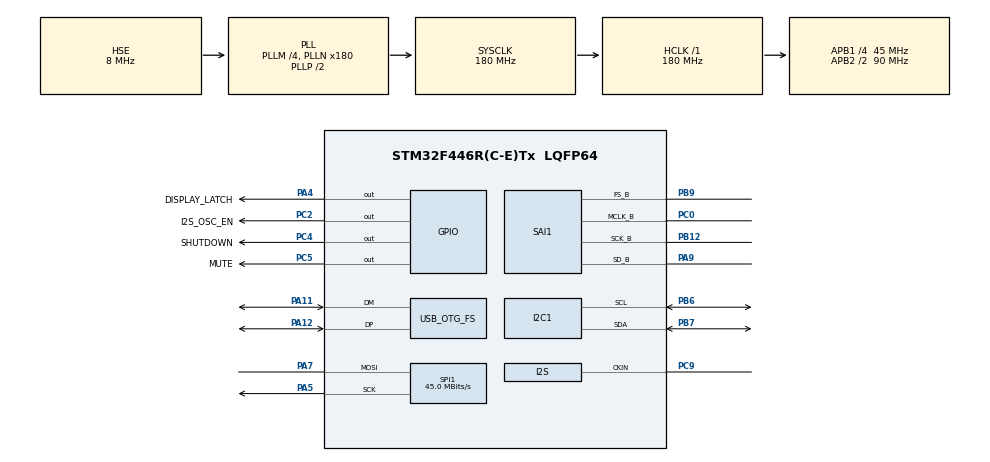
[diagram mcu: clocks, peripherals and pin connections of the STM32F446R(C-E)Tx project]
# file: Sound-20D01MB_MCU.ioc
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Mcu.Family=STM32F4
USB_DEVICE.CLASS_NAME_FS=AUDIO
PH0-OSC_IN.Signal=RCC_OSC_IN
RCC.CortexFreq_Value=180000000
NVIC.I2C1_EV_IRQn=true\:0\:0\:false\:false\:true\:true\:true
SPI1.VirtualType=VM_MASTER
Dma.SAI1_B.0.MemInc=DMA_MINC_ENABLE
Dma.SAI1_B.0.FIFOThreshold=DMA_FIFO_THRESHOLD_FULL
VP_RTC_VS_RTC_Activate.Mode=RTC_Enabled
PA11.Mode=Device_Only
SAI1.VirtualMode-SAI_B_MasterWithClock=VM_MASTER
RCC.SYSCLKSource=RCC_SYSCLKSOURCE_PLLCLK
SAI1.RealAudioFreq-SAI_B_MasterWithClock=48.0 KHz
ProjectManager.StackSize=0x400
USB_DEVICE.PID_AUDIO_FS=12345
PA12.Signal=USB_OTG_FS_DP
SPI1.Direction=SPI_DIRECTION_1LINE
RCC.HCLKFreq_Value=180000000
RCC.APB2TimFreq_Value=180000000
PB6.Signal=I2C1_SCL
PB6.Mode=I2C
SPI1.CalculateBaudRate=45.0 MBits/s
RCC.AHBFreq_Value=180000000
PH0-OSC_IN.Mode=HSE-External-Oscillator
SAI1.ErrorAudioFreq-SAI_B_MasterWithClock=0.0 %
RCC.HSE_VALUE=8000000
Dma.SAI1_B.0.PeriphInc=DMA_PINC_DISABLE
PC14-OSC32_IN.Mode=LSE-External-Oscillator
PC4.GPIO_Label=SHUTDOWN
PC9.Mode=Audio_ClockIn
PB7.Signal=I2C1_SDA
SPI1.FirstBit=SPI_FIRSTBIT_LSB
Dma.SAI1_B.0.MemBurst=DMA_MBURST_INC8
NVIC.I2C1_ER_IRQn=true\:0\:0\:false\:false\:true\:true\:true
PH1-OSC_OUT.Mode=HSE-External-Oscillator
USB_DEVICE.PRODUCT_STRING_AUDIO_FS=Sound-20D01
PB9.Signal=SAI1_FS_B
Mcu.Package=LQFP64
PB12.Mode=SAI_B_MasterWithClock
NVIC.OTG_FS_IRQn=true\:0\:0\:false\:false\:true\:false\:true
USB_OTG_FS.VirtualMode=Device_Only
SAI1.Instance-SAI_B_MasterWithClock=SAI$Index_Block_B
RCC.PLLSAIN=96
RCC.PLLSAIM=4
RCC.PLLSAIP=RCC_PLLSAIP_DIV4
Dma.SAI1_B.0.Mode=DMA_NORMAL
RCC.APB2CLKDivider=RCC_HCLK_DIV2
Dma.SAI1_B.0.FIFOMode=DMA_FIFOMODE_ENABLE
RCC.APB1TimFreq_Value=90000000
Dma.SAI1_B.0.Instance=DMA2_Stream5
PC5.Signal=GPIO_Output
SAI1.MClockEnable-SAI_B_MasterWithClock=SAI_MASTERCLOCK_ENABLE
Dma.Request0=SAI1_B
PA4.GPIO_Label=DISPLAY_LATCH
PC2.GPIO_Label=I2S_OSC_EN
USB_DEVICE.USBD_AUDIO_FREQ-AUDIO_FS=48000
PA5.Mode=Simplex_Bidirectional_Master
RCC.PLLSourceVirtual=RCC_PLLSOURCE_HSE
PC15-OSC32_OUT.Mode=LSE-External-Oscillator
Dma.SAI1_B.0.MemDataAlignment=DMA_MDATAALIGN_HALFWORD
Dma.SAI1_B.0.PeriphDataAlignment=DMA_PDATAALIGN_HALFWORD
PA7.Mode=Simplex_Bidirectional_Master
USB_DEVICE.VirtualMode-AUDIO_FS=Audio
USB_DEVICE.VirtualModeFS=Audio_FS
RCC.SAIACLockSelection=RCC_SAI1CLKSOURCE_EXT
Dma.SAI1_B.0.PeriphBurst=DMA_PBURST_SINGLE
PC4.Signal=GPIO_Output
PC2.Signal=GPIO_Output
PC0.Signal=SAI1_MCLK_B
RCC.APB1CLKDivider=RCC_HCLK_DIV4
PC14-OSC32_IN.Signal=RCC_OSC32_IN
PC0.Mode=SAI_B_MasterWithClock
PA13.Signal=SYS_JTMS-SWDIO
Dma.SAI1_B.0.Priority=DMA_PRIORITY_LOW
PA9.Mode=SAI_B_MasterWithClock
ProjectManager.TargetToolchain=STM32CubeIDE
Dma.SAI1_B.0.Direction=DMA_MEMORY_TO_PERIPH
PB9.Mode=SAI_B_MasterWithClock
PA9.Signal=SAI1_SD_B
RCC.USBFreq_Value=48000000
PC15-OSC32_OUT.Signal=RCC_OSC32_OUT
VP_SAI1_VP_$IpInstance_SAIB_SAI_BASIC.Mode=SAI_B_BASIC
RCC.USBCLockSelection=RCC_CLK48CLKSOURCE_PLLSAIP
PA5.Signal=SPI1_SCK
board=custom
RCC.VCOOutputFreq_Value=360000000
RCC.APB2Freq_Value=90000000
SPI1.Mode=SPI_MODE_MASTER
NVIC.DMA2_Stream5_IRQn=true\:0\:0\:false\:false\:true\:false\:true
PH1-OSC_OUT.Signal=RCC_OSC_OUT
RCC.RCC_RTC_Clock_SourceVirtual=RCC_RTCCLKSOURCE_LSE
VP_USB_DEVICE_VS_USB_DEVICE_AUDIO_FS.Mode=AUDIO_FS
Mcu.Name=STM32F446R(C-E)Tx
PB3.Signal=SYS_JTDO-SWO
PA4.Signal=GPIO_Output
RCC.SYSCLKFreq_VALUE=180000000
PA12.Mode=Device_Only
SAI1.AudioFrequency-SAI_B_MasterWithClock=SAI_AUDIO_FREQUENCY_48K
PC5.GPIO_Label=MUTE
PB7.Mode=I2C
PA11.Signal=USB_OTG_FS_DM
PA14.Signal=SYS_JTCK-SWCLK
ProjectManager.HeapSize=0x200
SAI1.VirtualProtocol-SAI_B_BASIC=VM_BASIC_PROTOCOL
NVIC.PriorityGroup=NVIC_PRIORITYGROUP_4
RCC.PLLM=4
RCC.PLLN=180
PC9.Signal=I2S_CKIN
SAI1.InitProtocol-SAI_B_MasterWithClock=Enable
RCC.APB1Freq_Value=45000000
PB12.Signal=SAI1_SCK_B
PA7.Signal=SPI1_MOSI

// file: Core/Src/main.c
/* USER CODE BEGIN Header */
/**
  ******************************************************************************
  * @file           : main.c
  * @brief          : Main program body
  ******************************************************************************
  * @attention
  *
  * <h2><center>&copy; Copyright (c) 2021 STMicroelectronics.
  * All rights reserved.</center></h2>
  *
  * This software component is licensed by ST under BSD 3-Clause license,
  * the "License"; You may not use this file except in compliance with the
  * License. You may obtain a copy of the License at:
  *                        opensource.org/licenses/BSD-3-Clause
  *
  ******************************************************************************
  */
/* USER CODE END Header */
#include "main.h"
#include "usb_device.h"

/* USER CODE BEGIN Includes */
#include "audio.h"
/* USER CODE END Includes */

I2C_HandleTypeDef hi2c1;

RTC_HandleTypeDef hrtc;

SAI_HandleTypeDef hsai_BlockB1;
DMA_HandleTypeDef hdma_sai1_b;

SPI_HandleTypeDef hspi1;

/* USER CODE BEGIN PV */
const uint8_t digits[10] = {
	0xFC, 0x60, 0xDA, 0xF2, 0x66, 0xB6, 0xBE, 0xE0, 0xFE, 0xF6
};
/* USER CODE END PV */

void SystemClock_Config(void);
static void MX_GPIO_Init(void);
static void MX_DMA_Init(void);
static void MX_SAI1_Init(void);
static void MX_I2C1_Init(void);
static void MX_RTC_Init(void);
static void MX_SPI1_Init(void);

/* USER CODE BEGIN 0 */
#ifdef DEBUG
int _write(int32_t file, uint8_t *ptr, int32_t len) {
	UNUSED(file);

	/* Implement your write code here, this is used by puts and printf for example */
	int i = 0;
	for (i = 0; i < len; i++)
		ITM_SendChar((*ptr++));
	return len;
}
#endif
/* USER CODE END 0 */

int main(void)
{

  /* MCU Configuration--------------------------------------------------------*/

  /* Reset of all peripherals, Initializes the Flash interface and the Systick. */
  HAL_Init();

  /* Configure the system clock */
  SystemClock_Config();

  /* Initialize all configured peripherals */
  MX_GPIO_Init();
  MX_DMA_Init();
  MX_SAI1_Init();
  MX_USB_DEVICE_Init();
  MX_I2C1_Init();
  MX_RTC_Init();
  MX_SPI1_Init();
  /* USER CODE BEGIN 2 */
  RTC_TimeTypeDef sTime = {0};
  RTC_DateTypeDef sDate = {0};
  uint8_t SPI_Data[4];
  uint8_t dp = 0;

  /* Set time */
  sTime.Hours = 17;
  sTime.Minutes = 17;
  HAL_RTC_SetTime(&hrtc, &sTime, RTC_FORMAT_BIN);
  /* USER CODE END 2 */

  /* Infinite loop */
  /* USER CODE BEGIN WHILE */
  while (1)
  {
    HAL_RTC_GetTime(&hrtc, &sTime, RTC_FORMAT_BCD);
    HAL_RTC_GetDate(&hrtc, &sDate, RTC_FORMAT_BCD);

    SPI_Data[3] = digits[(sTime.Hours >> 4)];
    SPI_Data[2] = digits[(sTime.Hours & ~0b11110000)];
    SPI_Data[1] = digits[(sTime.Minutes >> 4)];
    SPI_Data[0] = digits[(sTime.Minutes & ~0b11110000)];

    if (0 == dp) {
      dp = 1;
      SPI_Data[2] |= (1 << 0);
    } else {
      dp = 0;
    }

    HAL_SPI_Transmit(&hspi1, SPI_Data, 4, HAL_MAX_DELAY);
    HAL_GPIO_WritePin(DISPLAY_LATCH_GPIO_Port, DISPLAY_LATCH_Pin, GPIO_PIN_SET);
    HAL_Delay(100);
    HAL_GPIO_WritePin(DISPLAY_LATCH_GPIO_Port, DISPLAY_LATCH_Pin, GPIO_PIN_RESET);

    HAL_Delay(400);
    /* USER CODE END WHILE */

  }
}

void SystemClock_Config(void)
{
  RCC_OscInitTypeDef RCC_OscInitStruct = {0};
  RCC_ClkInitTypeDef RCC_ClkInitStruct = {0};
  RCC_PeriphCLKInitTypeDef PeriphClkInitStruct = {0};

  /** Configure the main internal regulator output voltage
  */
  __HAL_RCC_PWR_CLK_ENABLE();
  __HAL_PWR_VOLTAGESCALING_CONFIG(PWR_REGULATOR_VOLTAGE_SCALE1);
  /** Initializes the RCC Oscillators according to the specified parameters
  * in the RCC_OscInitTypeDef structure.
  */
  RCC_OscInitStruct.OscillatorType = RCC_OSCILLATORTYPE_HSE|RCC_OSCILLATORTYPE_LSE;
  RCC_OscInitStruct.HSEState = RCC_HSE_ON;
  RCC_OscInitStruct.LSEState = RCC_LSE_ON;
  RCC_OscInitStruct.PLL.PLLState = RCC_PLL_ON;
  RCC_OscInitStruct.PLL.PLLSource = RCC_PLLSOURCE_HSE;
  RCC_OscInitStruct.PLL.PLLM = 4;
  RCC_OscInitStruct.PLL.PLLN = 180;
  RCC_OscInitStruct.PLL.PLLP = RCC_PLLP_DIV2;
  RCC_OscInitStruct.PLL.PLLQ = 2;
  RCC_OscInitStruct.PLL.PLLR = 2;
  if (HAL_RCC_OscConfig(&RCC_OscInitStruct) != HAL_OK)
  {
    Error_Handler();
  }
  /** Activate the Over-Drive mode
  */
  if (HAL_PWREx_EnableOverDrive() != HAL_OK)
  {
    Error_Handler();
  }
  /** Initializes the CPU, AHB and APB buses clocks
  */
  RCC_ClkInitStruct.ClockType = RCC_CLOCKTYPE_HCLK|RCC_CLOCKTYPE_SYSCLK
                              |RCC_CLOCKTYPE_PCLK1|RCC_CLOCKTYPE_PCLK2;
  RCC_ClkInitStruct.SYSCLKSource = RCC_SYSCLKSOURCE_PLLCLK;
  RCC_ClkInitStruct.AHBCLKDivider = RCC_SYSCLK_DIV1;
  RCC_ClkInitStruct.APB1CLKDivider = RCC_HCLK_DIV4;
  RCC_ClkInitStruct.APB2CLKDivider = RCC_HCLK_DIV2;

  if (HAL_RCC_ClockConfig(&RCC_ClkInitStruct, FLASH_LATENCY_5) != HAL_OK)
  {
    Error_Handler();
  }
  PeriphClkInitStruct.PeriphClockSelection = RCC_PERIPHCLK_SAI1|RCC_PERIPHCLK_RTC
                              |RCC_PERIPHCLK_CLK48;
  PeriphClkInitStruct.PLLSAI.PLLSAIM = 4;
  PeriphClkInitStruct.PLLSAI.PLLSAIN = 96;
  PeriphClkInitStruct.PLLSAI.PLLSAIQ = 2;
  PeriphClkInitStruct.PLLSAI.PLLSAIP = RCC_PLLSAIP_DIV4;
  PeriphClkInitStruct.PLLSAIDivQ = 1;
  PeriphClkInitStruct.RTCClockSelection = RCC_RTCCLKSOURCE_LSE;
  PeriphClkInitStruct.Clk48ClockSelection = RCC_CLK48CLKSOURCE_PLLSAIP;
  PeriphClkInitStruct.Sai1ClockSelection = RCC_SAI1CLKSOURCE_EXT;
  if (HAL_RCCEx_PeriphCLKConfig(&PeriphClkInitStruct) != HAL_OK)
  {
    Error_Handler();
  }
}

static void MX_I2C1_Init(void)
{

  hi2c1.Instance = I2C1;
  hi2c1.Init.ClockSpeed = 100000;
  hi2c1.Init.DutyCycle = I2C_DUTYCYCLE_2;
  hi2c1.Init.OwnAddress1 = 0;
  hi2c1.Init.AddressingMode = I2C_ADDRESSINGMODE_7BIT;
  hi2c1.Init.DualAddressMode = I2C_DUALADDRESS_DISABLE;
  hi2c1.Init.OwnAddress2 = 0;
  hi2c1.Init.GeneralCallMode = I2C_GENERALCALL_DISABLE;
  hi2c1.Init.NoStretchMode = I2C_NOSTRETCH_DISABLE;
  if (HAL_I2C_Init(&hi2c1) != HAL_OK)
  {
    Error_Handler();
  }

}

static void MX_RTC_Init(void)
{

  /** Initialize RTC Only
  */
  hrtc.Instance = RTC;
  hrtc.Init.HourFormat = RTC_HOURFORMAT_24;
  hrtc.Init.AsynchPrediv = 127;
  hrtc.Init.SynchPrediv = 255;
  hrtc.Init.OutPut = RTC_OUTPUT_DISABLE;
  hrtc.Init.OutPutPolarity = RTC_OUTPUT_POLARITY_HIGH;
  hrtc.Init.OutPutType = RTC_OUTPUT_TYPE_OPENDRAIN;
  if (HAL_RTC_Init(&hrtc) != HAL_OK)
  {
    Error_Handler();
  }

}

static void MX_SAI1_Init(void)
{

  hsai_BlockB1.Instance = SAI1_Block_B;
  hsai_BlockB1.Init.AudioMode = SAI_MODEMASTER_TX;
  hsai_BlockB1.Init.Synchro = SAI_ASYNCHRONOUS;
  hsai_BlockB1.Init.OutputDrive = SAI_OUTPUTDRIVE_DISABLE;
  hsai_BlockB1.Init.NoDivider = SAI_MASTERDIVIDER_ENABLE;
  hsai_BlockB1.Init.FIFOThreshold = SAI_FIFOTHRESHOLD_EMPTY;
  hsai_BlockB1.Init.ClockSource = SAI_CLKSOURCE_NA;
  hsai_BlockB1.Init.AudioFrequency = SAI_AUDIO_FREQUENCY_48K;
  hsai_BlockB1.Init.SynchroExt = SAI_SYNCEXT_DISABLE;
  hsai_BlockB1.Init.MonoStereoMode = SAI_STEREOMODE;
  hsai_BlockB1.Init.CompandingMode = SAI_NOCOMPANDING;
  hsai_BlockB1.Init.TriState = SAI_OUTPUT_NOTRELEASED;
  if (HAL_SAI_InitProtocol(&hsai_BlockB1, SAI_I2S_STANDARD, SAI_PROTOCOL_DATASIZE_16BIT, 2) != HAL_OK)
  {
    Error_Handler();
  }

}

static void MX_SPI1_Init(void)
{

  /* SPI1 parameter configuration*/
  hspi1.Instance = SPI1;
  hspi1.Init.Mode = SPI_MODE_MASTER;
  hspi1.Init.Direction = SPI_DIRECTION_1LINE;
  hspi1.Init.DataSize = SPI_DATASIZE_8BIT;
  hspi1.Init.CLKPolarity = SPI_POLARITY_LOW;
  hspi1.Init.CLKPhase = SPI_PHASE_1EDGE;
  hspi1.Init.NSS = SPI_NSS_SOFT;
  hspi1.Init.BaudRatePrescaler = SPI_BAUDRATEPRESCALER_2;
  hspi1.Init.FirstBit = SPI_FIRSTBIT_LSB;
  hspi1.Init.TIMode = SPI_TIMODE_DISABLE;
  hspi1.Init.CRCCalculation = SPI_CRCCALCULATION_DISABLE;
  hspi1.Init.CRCPolynomial = 10;
  if (HAL_SPI_Init(&hspi1) != HAL_OK)
  {
    Error_Handler();
  }

}

static void MX_DMA_Init(void)
{

  /* DMA controller clock enable */
  __HAL_RCC_DMA2_CLK_ENABLE();

  /* DMA interrupt init */
  /* DMA2_Stream5_IRQn interrupt configuration */
  HAL_NVIC_SetPriority(DMA2_Stream5_IRQn, 0, 0);
  HAL_NVIC_EnableIRQ(DMA2_Stream5_IRQn);

}

static void MX_GPIO_Init(void)
{
  GPIO_InitTypeDef GPIO_InitStruct = {0};

  /* GPIO Ports Clock Enable */
  __HAL_RCC_GPIOC_CLK_ENABLE();
  __HAL_RCC_GPIOH_CLK_ENABLE();
  __HAL_RCC_GPIOA_CLK_ENABLE();
  __HAL_RCC_GPIOB_CLK_ENABLE();

  /*Configure GPIO pin Output Level */
  HAL_GPIO_WritePin(GPIOC, I2S_OSC_EN_Pin|SHUTDOWN_Pin|MUTE_Pin, GPIO_PIN_RESET);

  /*Configure GPIO pin Output Level */
  HAL_GPIO_WritePin(DISPLAY_LATCH_GPIO_Port, DISPLAY_LATCH_Pin, GPIO_PIN_RESET);

  /*Configure GPIO pins : I2S_OSC_EN_Pin SHUTDOWN_Pin MUTE_Pin */
  GPIO_InitStruct.Pin = I2S_OSC_EN_Pin|SHUTDOWN_Pin|MUTE_Pin;
  GPIO_InitStruct.Mode = GPIO_MODE_OUTPUT_PP;
  GPIO_InitStruct.Pull = GPIO_NOPULL;
  GPIO_InitStruct.Speed = GPIO_SPEED_FREQ_LOW;
  HAL_GPIO_Init(GPIOC, &GPIO_InitStruct);

  /*Configure GPIO pin : DISPLAY_LATCH_Pin */
  GPIO_InitStruct.Pin = DISPLAY_LATCH_Pin;
  GPIO_InitStruct.Mode = GPIO_MODE_OUTPUT_PP;
  GPIO_InitStruct.Pull = GPIO_NOPULL;
  GPIO_InitStruct.Speed = GPIO_SPEED_FREQ_LOW;
  HAL_GPIO_Init(DISPLAY_LATCH_GPIO_Port, &GPIO_InitStruct);

  /*Configure GPIO pin : PC9 */
  GPIO_InitStruct.Pin = GPIO_PIN_9;
  GPIO_InitStruct.Mode = GPIO_MODE_AF_PP;
  GPIO_InitStruct.Pull = GPIO_NOPULL;
  GPIO_InitStruct.Speed = GPIO_SPEED_FREQ_LOW;
  GPIO_InitStruct.Alternate = GPIO_AF5_SPI1;
  HAL_GPIO_Init(GPIOC, &GPIO_InitStruct);

}

void Error_Handler(void)
{
  __disable_irq();
  while (1)
  {
  }
}

/************************ (C) COPYRIGHT STMicroelectronics *****END OF FILE****/
